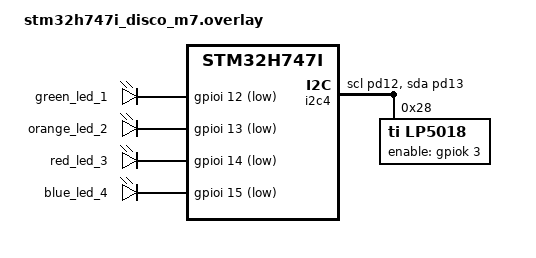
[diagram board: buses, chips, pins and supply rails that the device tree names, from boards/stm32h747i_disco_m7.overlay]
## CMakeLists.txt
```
# Copyright (c) 2023 Kistler Instrumente AG
# SPDX-License-Identifier: Apache-2.0

cmake_minimum_required(VERSION 3.20.0)

find_package(Zephyr REQUIRED HINTS $ENV{ZEPHYR_BASE})
project(led_lp5018)

target_sources(app PRIVATE
	src/main.c
)
```

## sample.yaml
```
# Copyright (c) 2023 Kistler Instrumente AG
# SPDX-License-Identifier: Apache-2.0

sample:
  description: Demonstration of the LP5018 LED driver
  name: LP5018 sample
tests:
  sample.drivers.led.lp5018:
    platform_allow: stm32h747i_disco_m7
    filter: dt_compat_enabled("ti,lp5018")
    tags: LED
    depends_on: i2c
```

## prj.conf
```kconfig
# Copyright (c) 2023 Kistler Instrumente AG
# SPDX-License-Identifier: Apache-2.0

### Drivers
CONFIG_LED=y
CONFIG_LED_GPIO=y
CONFIG_LP50XX_ALLOW_SOFTWARE_BLINK=y

### Log Output
CONFIG_LOG=y
CONFIG_LED_LOG_LEVEL_DBG=y
CONFIG_LOG_BUFFER_SIZE=2048
```

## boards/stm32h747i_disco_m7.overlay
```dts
/*
 * Copyright (c) 2023 Kistler Instrumente AG
 * SPDX-License-Identifier: Apache-2.0
 */

#include <dt-bindings/led/led.h>

&green_led_1 {
	status = "okay";
	/* LED is active low, overwrite default DT */
	gpios = <&gpioi 12 GPIO_ACTIVE_LOW>;
};

&orange_led_2 {
	status = "okay";
	/* LED is active low, overwrite default DT */
	gpios = <&gpioi 13 GPIO_ACTIVE_LOW>;
};

&red_led_3 {
	status = "okay";
	/* LED is active low, overwrite default DT */
	gpios = <&gpioi 14 GPIO_ACTIVE_LOW>;
};

&blue_led_4 {
	status = "okay";
	/* LED is active low, overwrite default DT */
	gpios = <&gpioi 15 GPIO_ACTIVE_LOW>;
};

&i2c4 {
	status = "okay";
	pinctrl-0 = <&i2c4_scl_pd12 &i2c4_sda_pd13>;
	pinctrl-names = "default";

	lp5018@28 {
		compatible = "ti,lp5018";
		status = "okay";
		reg = <0x28>;
		enable-gpios = <&gpiok 3 GPIO_ACTIVE_HIGH>;
		log_scale_en;

		led_0 {
			label = "STATUS 0 RGB";
			index = <0>;
			color-mapping =
				<LED_COLOR_ID_RED>,
				<LED_COLOR_ID_GREEN>,
				<LED_COLOR_ID_BLUE>;
			default-brightness = <5>;
			norm-value = <0xff>;
		};

		led_1 {
			label = "STATUS 1 RGB";
			index = <1>;
			color-mapping =
				<LED_COLOR_ID_RED>,
				<LED_COLOR_ID_GREEN>,
				<LED_COLOR_ID_BLUE>;
			default-brightness = <10>;
			norm-value = <0xff>;
		};

		led_2 {
			label = "STATUS 2 RGB";
			index = <2>;
			color-mapping =
				<LED_COLOR_ID_RED>,
				<LED_COLOR_ID_GREEN>,
				<LED_COLOR_ID_BLUE>;
			default-brightness = <25>;
			norm-value = <0xff>;
		};

		led_3 {
			label = "STATUS 3 RGB";
			index = <3>;
			color-mapping =
				<LED_COLOR_ID_RED>,
				<LED_COLOR_ID_GREEN>,
				<LED_COLOR_ID_BLUE>;
			default-brightness = <50>;
			norm-value = <0xff>;
		};

		led_4 {
			label = "STATUS 4 BGR";
			index = <4>;
			color-mapping =
				<LED_COLOR_ID_BLUE>,
				<LED_COLOR_ID_GREEN>,
				<LED_COLOR_ID_RED>;
			default-brightness = <75>;
			norm-value = <0xff>;
		};

		led_5 {
			label = "STATUS 5 GBR";
			index = <5>;
			color-mapping =
				<LED_COLOR_ID_GREEN>,
				<LED_COLOR_ID_BLUE>,
				<LED_COLOR_ID_RED>;
			norm-value = <0xff>;
		};
	};
};
```

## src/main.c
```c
/*
 * Copyright (c) 2023 Kistler Instrumente AG
 * based on led_lp503x example
 * SPDX-License-Identifier: Apache-2.0
 */

#include <zephyr/kernel.h>
#include <zephyr/device.h>
#include <zephyr/dt-bindings/led/led.h>
#include <zephyr/drivers/gpio.h>
#include <zephyr/drivers/led.h>
#include <zephyr/logging/log.h>
LOG_MODULE_REGISTER(app, CONFIG_LOG_DEFAULT_LEVEL);

#include <zephyr/drivers/led/lp50xx.h>

#define INDEX_RED 0
#define INDEX_GREEN 1
#define INDEX_BLUE 2
#define NUM_SINGLE_LEDS 4
#define TIMEBASE_MS 250
#define PERIOD_MS (LP5018_24_MAX_LEDS * TIMEBASE_MS)
#define BLINK_1HZ 500
#define BLINK_3HZ 167
#define TEST_BRIGHTNESS_PERCENT 10
#ifdef CONFIG_LP50XX_ALLOW_SOFTWARE_BLINK
#define RESOLUTION_MS CONFIG_LP50XX_TIMER_RESOLUTION_MS
#else
#define RESOLUTION_MS 1
#endif
BUILD_ASSERT((BLINK_3HZ / RESOLUTION_MS) >= 1, "Timer resolution does not fit blink half-period.");
#define NUM_DEFINED_COLORS 8
#define MAX_BRIGHTNESS 100
#define BRIGHTNESS_TEST_STEPS 10
#define BUTTON_TIMEOUT_IN_S 10
#define SW0_NODE DT_ALIAS(sw0)
#if !DT_NODE_HAS_STATUS(SW0_NODE, okay)
#error "Unsupported board: sw0 device tree alias is not defined"
#endif

struct led_data {
	const struct device *dev;
	uint32_t led;
	bool led_on;
	uint32_t delay_on;
	uint32_t delay_off;
};

static const uint8_t rgb_colors[NUM_DEFINED_COLORS][3] = {
	{ 0xFF, 0x00, 0x00 }, /* Red    */
	{ 0x00, 0xFF, 0x00 }, /* Green  */
	{ 0x00, 0x00, 0xFF }, /* Blue   */
	{ 0xFF, 0xFF, 0xFF }, /* White  */
	{ 0xFF, 0xFF, 0x00 }, /* Yellow */
	{ 0xFF, 0x00, 0xFF }, /* Purple */
	{ 0x00, 0xFF, 0xFF }, /* Cyan   */
	{ 0xF4, 0x79, 0x20 }, /* Orange */
};

static const struct device *lp5018 = DEVICE_DT_GET_ONE(ti_lp5018);
static const struct led_info *lp5018_info[LP5018_24_MAX_LEDS];
static const struct gpio_dt_spec sw = GPIO_DT_SPEC_GET_OR(SW0_NODE, gpios, {0});
static struct k_timer tim[NUM_SINGLE_LEDS];
static struct led_data pdata[NUM_SINGLE_LEDS];

/**
 * @brief Timer stop callback.
 */
static void tim_stop(struct k_timer *timer)
{
	struct led_data	*p = (struct led_data *)k_timer_user_data_get(timer);
	int ret;

	if (!p) {
		LOG_ERR("timer %p has no user data!", timer);
		return;
	}

	ret = led_off(p->dev, p->led);
	if (ret < 0) {
		LOG_ERR("led_off(%s, %d) %d", p->dev->name, p->led, ret);
	}
}

/**
 * @brief Timer expire callback.
 */
static void tim_toggle_led(struct k_timer *timer)
{
	struct led_data	*p = (struct led_data *)k_timer_user_data_get(timer);
	int ret;

	if (!p) {
		LOG_ERR("timer %p has no user data!", timer);
		return;
	}

	if (p->led_on) {
		ret = led_off(p->dev, p->led);
		if (ret < 0) {
			LOG_ERR("led_off(%s, %d) %d", p->dev->name, p->led, ret);
			return;
		}
		k_timer_start(timer, K_MSEC(p->delay_off), K_NO_WAIT);
		p->led_on = false;
	} else {
		ret = led_on(p->dev, p->led);
		if (ret < 0) {
			LOG_ERR("led_on(%s, %d) %d", p->dev->name, p->led, ret);
			return;
		}
		k_timer_start(timer, K_MSEC(p->delay_on), K_NO_WAIT);
		p->led_on = true;
	}
}

/**
 * @brief Setup GPIO LEDs defined in DT
 *
 * @return 0 on success, negative on error
 */
static int init_gpio_led_timer(void)
{
	const struct device *gpio_leds = DEVICE_DT_GET_ANY(gpio_leds);
	int ret;

	if (!device_is_ready(gpio_leds)) {
		return -ENODEV;
	}

	for (int led = 0; led < NUM_SINGLE_LEDS; led++) {
		ret = led_off(gpio_leds, led);
		if (ret < 0) {
			LOG_ERR("led_off(%s, %d) %d", gpio_leds->name, led, ret);
			continue;
		}

		k_timer_init(&tim[led], tim_toggle_led, tim_stop);
		pdata[led].dev = gpio_leds;
		pdata[led].led = led;
		pdata[led].led_on = false;
		pdata[led].delay_on = TIMEBASE_MS * (led+1);
		pdata[led].delay_off = PERIOD_MS - pdata[led].delay_on;
		k_timer_user_data_set(&tim[led], &pdata[led]);
	}

	return 0;
}

/**
 * @brief Wait for button to be pressed or timeout.
 *
 * @param timeout_seconds timeout in seconds
 */
static void wait_for_button_press(uint32_t timeout_seconds)
{
	int64_t start = k_uptime_get();
	int64_t end = start + timeout_seconds * 1000;

	while (gpio_pin_get(sw.port, sw.pin)) {
		/* wait for button release */
		if (k_uptime_get() >= end) {
			LOG_WRN("Button timeout (%d s).", timeout_seconds);
			return;
		}
		k_msleep(50);
	};

	while (!gpio_pin_get(sw.port, sw.pin)) {
		if (k_uptime_get() >= end) {
			LOG_WRN("Button timeout (%d s).", timeout_seconds);
			return;
		}
		k_msleep(50);
	}
}

/**
 * @brief Get LP5018 info from DT and display.
 *
 * @return 0 on success, negative on error
 */
static int init_led_controller(void)
{
	int led;

	if (!device_is_ready(lp5018)) {
		LOG_ERR("Could not get led controller");
		return -ENODEV;
	}

	for (led = 0; led < LP5018_24_MAX_LEDS; led++) {
		if (led_get_info(lp5018, led, &lp5018_info[led])) {
			LOG_INF("LED %d not present", led);
		} else {
			/* Display LED information */
			LOG_INF("Found LED %d", led);
			if (lp5018_info[led]->label) {
				LOG_INF(" - %s", lp5018_info[led]->label);
			}

			LOG_INF(" - index: %d", lp5018_info[led]->index);
			LOG_INF(" - %d colors", lp5018_info[led]->num_colors);
			if (lp5018_info[led]->color_mapping) {
				LOG_INF(" - %d:%d:%d", lp5018_info[led]->color_mapping[0],
					lp5018_info[led]->color_mapping[1],
					lp5018_info[led]->color_mapping[2]);
			}
		}
	}

	return 0;
}

/**
 * @brief Test handling of hardware color mapping (RGB, BGR, GBR)
 *
 * @param color_index index of color in rgb_color array
 * @return 0 on success, negative on hard error, positive number of errors
 */
static int test_color_mapping(int color_index)
{
	uint8_t color[] = {0x00, 0x00, 0x00};
	int errors = 0;
	int ret;

	for (int led = 0; led < LP5018_24_MAX_LEDS; led++) {
		if (!lp5018_info[led]) {
			continue;
		}

		ret = led_off(lp5018, led);
		if (ret) {
			LOG_ERR("Failed to disable LED %d! (%d)", led, ret);
			errors++;
		}

		for (int i = 0; i < LP50XX_COLORS_PER_LED; i++) {
			switch (lp5018_info[led]->color_mapping[i]) {
			case LED_COLOR_ID_RED:
				color[i] = rgb_colors[color_index][INDEX_RED];
				break;
			case LED_COLOR_ID_GREEN:
				color[i] = rgb_colors[color_index][INDEX_GREEN];
				break;
			case LED_COLOR_ID_BLUE:
				color[i] = rgb_colors[color_index][INDEX_BLUE];
				break;
			default:
				return -EINVAL;
			}
		}

		ret = led_set_color(lp5018, led, LP50XX_COLORS_PER_LED, color);
		if (ret) {
			LOG_ERR("Failed to set color of LED %d! (%d)", led, ret);
			errors++;
		}

		ret = led_on(lp5018, led);
		if (ret) {
			LOG_ERR("Failed to enable LED %d! (%d)", led, ret);
			errors++;
		}
	}

	return errors;
}

/**
 * @brief Test handling of brightness control of LP5018 driver.
 *
 * @param steps number of steps from 0 to 100 percent
 * @return 0 on success, positive number of errors
 */
static int test_brightness_control(uint8_t steps)
{
	uint8_t color[] = {0x00, 0x00, 0x00};
	int errors = 0;
	int led;
	int ret;
	int i;

	for (led = 0; led < LP5018_24_MAX_LEDS; led++) {
		if (!lp5018_info[led]) {
			continue;
		}

		for (i = 0; i < LP50XX_COLORS_PER_LED; i++) {
			switch (lp5018_info[led]->color_mapping[i]) {
			case LED_COLOR_ID_RED:
				color[i] = rgb_colors[led][INDEX_RED];
				break;
			case LED_COLOR_ID_GREEN:
				color[i] = rgb_colors[led][INDEX_GREEN];
				break;
			case LED_COLOR_ID_BLUE:
				color[i] = rgb_colors[led][INDEX_BLUE];
				break;
			default:
				return -EINVAL;
			}
		}

		ret = led_set_color(lp5018, led, LP50XX_COLORS_PER_LED,
				    color);
		if (ret) {
			LOG_ERR("Failed to set color of LED %d! (%d)", led,
				ret);
			errors++;
		}
	}

	for (i = 0; i <= MAX_BRIGHTNESS; i += (int)(MAX_BRIGHTNESS / steps)) {
		for (led = 0; led < LP5018_24_MAX_LEDS; led++) {
			if (!lp5018_info[led]) {
				continue;
			}

			if (led_set_brightness(lp5018, led, i)) {
				LOG_ERR("Failed to set brightness of LED %d!",
					led);
				errors++;
			}


		}
		LOG_INF("LED brightness at %d %%", i);
		wait_for_button_press(BUTTON_TIMEOUT_IN_S);
	}

	for (led = 0; led < LP5018_24_MAX_LEDS; led++) {
		if (!lp5018_info[led]) {
			continue;
		}

		ret = led_off(lp5018, led);
		if (ret) {
			LOG_ERR("Failed to disable LED %d! (%d)", led, ret);
			errors++;
		}
	}

	return errors;
}

/**
 * @brief Test software blink of LP5018 driver.
 *
 * @return 0 on success, positive number of errors
 */
static int test_software_blink(void)
{
	uint32_t prime[] = {719, 811, 919, 997, 1117, 773, 557, 1039,
			    3191, 2137, 2153, 1997, 3313, 3833, 1319, 733};
	/* reduce brightness of white */
	const uint8_t c[] = {0x80, 0x80, 0x80};
	int errors = 0;
	int led;
	int ret;

	for (led = 0; led < LP5018_24_MAX_LEDS; led++) {
		if (!lp5018_info[led]) {
			continue;
		}

		if (led_set_color(lp5018, led, LP50XX_COLORS_PER_LED, c)) {
			LOG_ERR("Failed to set color of LED %d!", led);
			errors++;
		}

		if (led_set_brightness(lp5018, led, TEST_BRIGHTNESS_PERCENT)) {
			LOG_ERR("Failed to set brightness of LED %d!", led);
			errors++;
		}

		ret = led_blink(lp5018, led, TIMEBASE_MS * (led+1),
				PERIOD_MS - (TIMEBASE_MS * (led+1)));
		if (ret) {
			LOG_ERR("Failed to blink LED %d! (%d)", led, ret);
			errors++;
		} else {
			LOG_INF("Blink LED %d: on=%d off=%d", led,
				TIMEBASE_MS * (led+1),
				PERIOD_MS - (TIMEBASE_MS * (led+1)));
		}
	}

	LOG_INF("LEDs should blink with same period...");
	wait_for_button_press(BUTTON_TIMEOUT_IN_S);
	LOG_INF("LEDs blink with arbitrary periods...");
	for (led = 0; led < LP5018_24_MAX_LEDS; led++) {
		if (!lp5018_info[led]) {
			continue;
		}

		if ((prime[led] / RESOLUTION_MS) < 1 ||
		    (prime[led + LP5018_24_MAX_LEDS] / RESOLUTION_MS) < 1) {
			LOG_WRN("Timer resolution does not fit half-period.");
		}

		ret = led_blink(lp5018, led, prime[led], prime[led + LP5018_24_MAX_LEDS]);
		if (ret) {
			LOG_ERR("Failed to blink LED %d! (%d)", led, ret);
			errors++;
		} else {
			LOG_INF("Blink LED %d: on=%d off=%d", led, prime[led],
				prime[led + LP5018_24_MAX_LEDS]);
		}
	}

	wait_for_button_press(BUTTON_TIMEOUT_IN_S);
	LOG_INF("Binary count with LEDs...");
	BUILD_ASSERT(((PERIOD_MS / (1<<(LP5018_24_MAX_LEDS-1))) /
		      RESOLUTION_MS) >= 1,
		     "Timer resolution does not fit blink half-period.");
	for (led = 0; led < LP5018_24_MAX_LEDS; led++) {
		if (!lp5018_info[led]) {
			continue;
		}

		ret = led_blink(lp5018, led, PERIOD_MS / (1<<led), PERIOD_MS / (1<<led));
		if (ret) {
			LOG_ERR("Failed to blink LED %d! (%d)", led, ret);
			errors++;
		} else {
			LOG_INF("Blink LED %d: on=%d off=%d", led, PERIOD_MS / (1<<led),
				PERIOD_MS / (1<<led));
		}
	}

	wait_for_button_press(BUTTON_TIMEOUT_IN_S);
	LOG_INF("Stop blinking and all LED on.");
	for (led = 0; led < LP5018_24_MAX_LEDS; led++) {
		if (!lp5018_info[led]) {
			continue;
		}

		ret = led_blink(lp5018, led, RESOLUTION_MS, 0);
		if (ret) {
			LOG_ERR("Failed to enable LED %d! (%d)", led, ret);
			errors++;
		}
	}

	wait_for_button_press(BUTTON_TIMEOUT_IN_S);
	LOG_INF("All LEDs off.");
	for (led = 0; led < LP5018_24_MAX_LEDS; led++) {
		if (!lp5018_info[led]) {
			continue;
		}

		ret = led_blink(lp5018, led, 0, RESOLUTION_MS);
		if (ret) {
			LOG_ERR("Failed to disable LED %d! (%d)", led, ret);
			errors++;
		}
	}

	LOG_INF("LEDs sync test, press to continue...");
	LOG_INF("running...");
	wait_for_button_press(BUTTON_TIMEOUT_IN_S);
	for (led = 0; led < LP5018_24_MAX_LEDS; led++) {
		if (!lp5018_info[led]) {
			continue;
		}

		/* 1 Hz */
		ret = led_blink(lp5018, led, BLINK_1HZ, BLINK_1HZ);
		if (ret) {
			LOG_ERR("Failed to blink LED %d! (%d)", led, ret);
			errors++;
		} else {
			LOG_INF("Blink LED %d: on=%d off=%d", led, BLINK_1HZ, BLINK_1HZ);
		}

		k_sleep(K_MSEC(2999));
	}

	for (led = 0; led < LP5018_24_MAX_LEDS; led++) {
		if (!lp5018_info[led]) {
			continue;
		}

		/* 3 Hz */
		ret = led_blink(lp5018, led, BLINK_3HZ, BLINK_3HZ);
		if (ret) {
			LOG_ERR("Failed to blink LED %d! (%d)", led, ret);
			errors++;
		} else {
			LOG_INF("Blink LED %d: on=%d off=%d", led, BLINK_3HZ, BLINK_3HZ);
		}

		k_sleep(K_MSEC(2003));
	}

	LOG_INF("LEDs sync test, done.");
	wait_for_button_press(BUTTON_TIMEOUT_IN_S / BUTTON_TIMEOUT_IN_S);
	LOG_INF("All LEDs off.");
	for (led = 0; led < LP5018_24_MAX_LEDS; led++) {
		if (!lp5018_info[led]) {
			continue;
		}

		ret = led_blink(lp5018, led, 0, 1);
		if (ret) {
			LOG_ERR("Failed to disable LED %d! (%d)", led, ret);
			errors++;
		}
	}

	return errors;
}

/**
 * @brief LED channel API write all colors
 *
 * @param values RGB color values (color mapping ordered)
 * @return 0 on success, 1 on error
 */
static int write_color_channel(uint8_t *values)
{
	int err;

	err = led_write_channels(lp5018, LP5018_24_LED_COL1_CHAN(0),
				 LP50XX_COLORS_PER_LED * LP5018_24_MAX_LEDS, values);
	if (err < 0) {
		LOG_ERR("Failed to write channels, start=%d num=%d err=%d",
			LP5018_24_LED_COL1_CHAN(0), LP50XX_COLORS_PER_LED * LP5018_24_MAX_LEDS,
			err);
	}

	return err < 0 ? 1 : 0;
}

/**
 * @brief LED channel API write all brightnesses
 *
 * @param values brightness values per LED
 * @return 0 on success, 1 on error
 */
static int write_brightness_channel(uint8_t *values)
{
	int err;

	err = led_write_channels(lp5018, LP50XX_LED_BRIGHT_CHAN(0), LP5018_24_MAX_LEDS, values);
	if (err < 0) {
		LOG_ERR("Failed to write channels, start=%d num=%d err=%d",
			LP50XX_LED_BRIGHT_CHAN(0), LP5018_24_MAX_LEDS, err);
	}

	return err < 0 ? 1 : 0;
}

/**
 * @brief Run tests on a all the LEDs using the channel-based API syscalls.
 */
static int run_channel_test(void)
{
	uint8_t buffer[LP50XX_COLORS_PER_LED * LP5018_24_MAX_LEDS];
	int errors = 0;
	int led;
	int i;

	/* loop through colors */
	for (led = 0; led < LP5018_24_MAX_LEDS; led++) {
		uint8_t *color = &buffer[led * 3];
		int idx = led % NUM_DEFINED_COLORS;

		if (!lp5018_info[led]) {
			continue;
		}

		for (i = 0; i < LP50XX_COLORS_PER_LED; i++) {
			switch (lp5018_info[led]->color_mapping[i]) {
			case LED_COLOR_ID_RED:
				color[i] = rgb_colors[idx][INDEX_RED];
				break;
			case LED_COLOR_ID_GREEN:
				color[i] = rgb_colors[idx][INDEX_GREEN];
				break;
			case LED_COLOR_ID_BLUE:
				color[i] = rgb_colors[idx][INDEX_BLUE];
				break;
			default:
				return -EINVAL;
			}
		}
	}

	errors += write_color_channel(buffer);

	/* Turn LEDs on (10%). */
	for (led = 0 ; led < LP5018_24_MAX_LEDS; led++) {
		buffer[led] = TEST_BRIGHTNESS_PERCENT;
	}

	errors += write_brightness_channel(buffer);

	LOG_INF("Color order: Red, Green, Blue, White, Yellow, Purple");
	wait_for_button_press(BUTTON_TIMEOUT_IN_S);

	/* Set all LEDs to white. */
	for (i = 0; i < sizeof(buffer); i++) {
		buffer[i] = 0xFF;
	}

	errors += write_color_channel(buffer);

	/* Turn LEDs on increasing brightness. */
	for (led = 0; led < LP5018_24_MAX_LEDS; led++) {
		buffer[led] = 100 / LP5018_24_MAX_LEDS * (led + 1);
	}

	errors += write_brightness_channel(buffer);

	LOG_INF("White brightness: %d %%, %d %%, ...", buffer[0], buffer[1]);
	wait_for_button_press(BUTTON_TIMEOUT_IN_S);

	/* Turn LEDs off. */
	for (led = 0; led < LP5018_24_MAX_LEDS; led++) {
		buffer[led] = 0;
	}

	errors += write_brightness_channel(buffer);

	LOG_INF("All LEDs off.");

	return errors;
}

/**
 * @brief Run implemented test for LP5018 driver.
 *
 * @return 0 on success, positive number of errors
 */
static int run_tests(void)
{
	int errors = 0;
	int ret;
	int i;

	LOG_INF("Test color mapping: all LEDs should have the same color.");
	LOG_INF("Press button to start and for next color.");
	for (i = 0; i < NUM_DEFINED_COLORS; i++) {
		wait_for_button_press(BUTTON_TIMEOUT_IN_S);
		ret = test_color_mapping(i);
		if (ret < 0) {
			LOG_ERR("Unexpected error in color mapping! (%d)", ret);
			errors++;
		} else {
			errors += ret;
		}
	}

	LOG_INF("Test brightness control, press button to increase.");
	wait_for_button_press(BUTTON_TIMEOUT_IN_S);
	errors += test_brightness_control(BRIGHTNESS_TEST_STEPS);

	if (IS_ENABLED(CONFIG_LP50XX_ALLOW_SOFTWARE_BLINK)) {
		LOG_INF("Test blink, press button to continue.");
		wait_for_button_press(BUTTON_TIMEOUT_IN_S);
		errors += test_software_blink();
	}

	LOG_INF("Test channel API, press button to continue.");
	wait_for_button_press(BUTTON_TIMEOUT_IN_S);
	errors += run_channel_test();

	return errors;
}

/**
 * @brief Let the GPIO LEDs blink with timer and run tests on LP5018 driver.
 */
void main(void)
{
	int ret;
	int i;

	LOG_INF("Running LP5018 test bench...");

	if (!device_is_ready(sw.port)) {
		LOG_ERR("Error: button device %s is not ready", sw.port->name);
		return;
	}

	ret = gpio_pin_configure_dt(&sw, GPIO_INPUT);
	if (ret != 0) {
		LOG_ERR("Error %d: failed to configure %s pin %d", ret, sw.port->name, sw.pin);
		return;
	}

	if (!init_gpio_led_timer()) {
		for (i = 0; i < NUM_SINGLE_LEDS; i++) {
			k_timer_start(&tim[i], K_NO_WAIT, K_NO_WAIT);
		}
	}

	if (init_led_controller()) {
		/* just blink if init_gpio_led_timer() did not fail */
		wait_for_button_press(BUTTON_TIMEOUT_IN_S);
		goto exit;
	}

	ret = run_tests();
	LOG_INF("%s test had %d error(s).", lp5018->name, ret);

exit:
	for (i = 0; i < NUM_SINGLE_LEDS; i++) {
		k_timer_stop(&tim[i]);
	}

	LOG_INF("LP5018 test bench done.");
}
```
